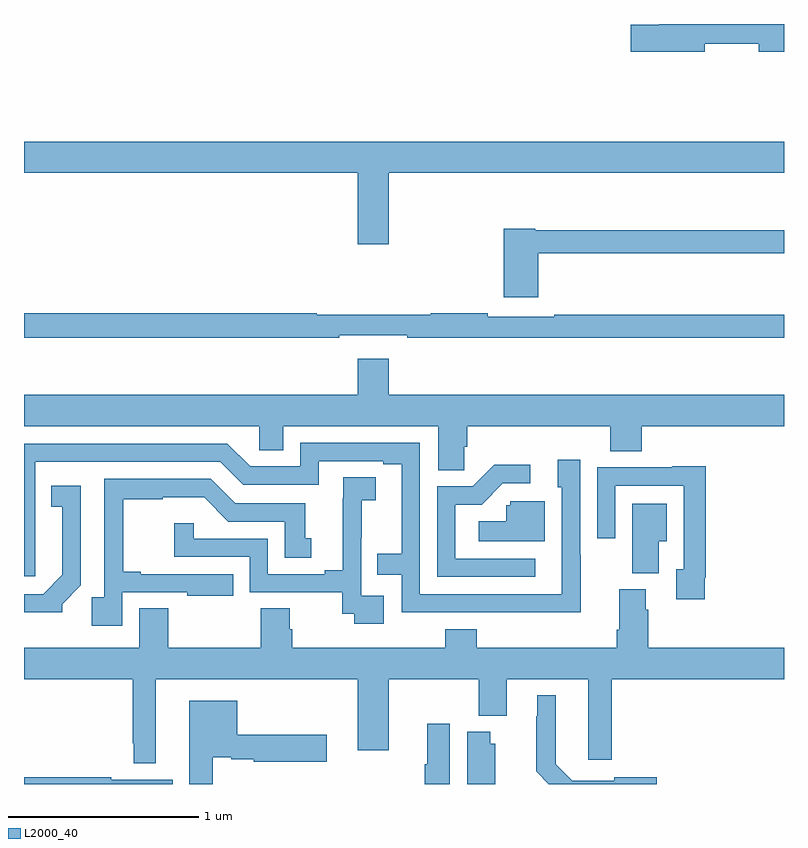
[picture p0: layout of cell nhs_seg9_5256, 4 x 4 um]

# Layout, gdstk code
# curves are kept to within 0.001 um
import gdstk
lib = gdstk.Library(unit=1e-6, precision=1e-09)
def P(c, l, *ps):  # polygons
    for p in ps: c.add(gdstk.Polygon(p, *l))
L2000_40 = (2000, 40)

nhs_seg9_5256 = lib.new_cell('nhs_seg9_5256')
P(nhs_seg9_5256, L2000_40, [(418.582,1234.396),(418.868,1234.396),(418.868,1234.354),(419,1234.354),(419,1234.5),(418.343,1234.5),(418.343,1234.496),(418.194,1234.496),(418.194,1234.354),(418.582,1234.354)],
  [(416.92,1233.716),(419,1233.716),(419,1233.88),(415,1233.88),(415,1233.716),(416.756,1233.716),(416.756,1233.342),(416.92,1233.342)],
  [(417.707,1233.294),(419,1233.294),(419,1233.415),(417.69,1233.415),(417.69,1233.423),(417.524,1233.423),(417.524,1233.063),(417.707,1233.063)],
  [(416.66,1232.862),(417.016,1232.862),(417.016,1232.85),(419,1232.85),(419,1232.971),(417.79,1232.971),(417.79,1232.958),(417.44,1232.958),(417.44,1232.978),(417.14,1232.978),(417.14,1232.971),(416.54,1232.971),(416.54,1232.978),(415,1232.978),(415,1232.85),(416.66,1232.85)],
  [(417.318,1232.275),(417.332,1232.275),(417.332,1232.384),(418.085,1232.384),(418.085,1232.251),(418.25,1232.251),(418.25,1232.384),(419,1232.384),(419,1232.548),(416.92,1232.548),(416.92,1232.737),(416.756,1232.737),(416.756,1232.548),(415,1232.548),(415,1232.384),(416.238,1232.384),(416.238,1232.257),(416.365,1232.257),(416.365,1232.384),(417.179,1232.384),(417.179,1232.152),(417.318,1232.152)],
  [(417.929,1231.706),(417.927,1231.706),(417.927,1232.206),(417.809,1232.206),(417.809,1232.061),(417.831,1232.061),(417.831,1231.5),(417.084,1231.5),(417.084,1232.295),(416.454,1232.295),(416.454,1232.172),(416.19,1232.172),(416.07,1232.292),(415,1232.292),(415,1231.593),(415.06,1231.593),(415.059,1232.196),(416.034,1232.196),(416.154,1232.076),(416.55,1232.076),(416.55,1232.199),(416.891,1232.199),(416.891,1232.184),(416.987,1232.184),(416.987,1231.711),(416.86,1231.711),(416.86,1231.602),(416.988,1231.602),(416.988,1231.404),(417.929,1231.403)],
  [(417.691,1231.686),(417.27,1231.686),(417.27,1231.971),(417.408,1231.971),(417.519,1232.082),(417.664,1232.082),(417.664,1232.18),(417.476,1232.18),(417.363,1232.067),(417.174,1232.067),(417.174,1231.59),(417.691,1231.59)],
  [(418.582,1231.585),(418.589,1231.585),(418.589,1232.173),(418.413,1232.173),(418.413,1232.166),(418.017,1232.166),(418.017,1231.794),(418.113,1231.794),(418.113,1232.07),(418.473,1232.07),(418.473,1231.629),(418.433,1231.629),(418.433,1231.473),(418.582,1231.473)],
  [(416.893,1231.491),(416.775,1231.491),(416.775,1231.795),(416.777,1231.795),(416.777,1231.993),(416.851,1231.993),(416.851,1232.114),(416.68,1232.114),(416.68,1232.003),(416.678,1232.003),(416.678,1231.625),(416.582,1231.625),(416.582,1231.605),(416.283,1231.605),(416.283,1231.791),(415.893,1231.791),(415.893,1231.873),(415.792,1231.873),(415.792,1231.695),(416.187,1231.695),(416.187,1231.509),(416.674,1231.509),(416.674,1231.395),(416.737,1231.395),(416.737,1231.344),(416.893,1231.344)],
  [(415.518,1231.509),(415.859,1231.509),(415.859,1231.49),(416.102,1231.49),(416.102,1231.605),(415.615,1231.605),(415.615,1231.618),(415.523,1231.618),(415.523,1231.998),(415.73,1231.998),(415.73,1232.009),(415.948,1232.009),(416.076,1231.881),(416.372,1231.881),(416.372,1231.69),(416.512,1231.69),(416.512,1231.794),(416.479,1231.794),(416.479,1231.977),(416.112,1231.977),(415.983,1232.106),(415.422,1232.106),(415.422,1231.483),(415.357,1231.483),(415.357,1231.332),(415.518,1231.332)],
  [(415.2,1231.447),(415.299,1231.546),(415.299,1232.071),(415.144,1232.071),(415.144,1231.958),(415.202,1231.958),(415.202,1231.601),(415.101,1231.5),(415,1231.5),(415,1231.403),(415.2,1231.403)],
  [(417.742,1231.989),(417.558,1231.989),(417.558,1231.968),(417.537,1231.968),(417.537,1231.882),(417.393,1231.882),(417.393,1231.778),(417.742,1231.778)],
  [(418.342,1231.778),(418.384,1231.778),(418.384,1231.975),(418.202,1231.975),(418.202,1231.609),(418.342,1231.609)],
  [(415.693,1231.052),(416.756,1231.052),(416.756,1230.678),(416.92,1230.678),(416.92,1231.052),(417.394,1231.052),(417.394,1230.86),(417.541,1230.86),(417.541,1231.052),(417.971,1231.052),(417.971,1230.627),(418.094,1230.627),(418.094,1231.052),(419,1231.052),(419,1231.216),(418.286,1231.216),(418.286,1231.418),(418.273,1231.418),(418.273,1231.524),(418.133,1231.524),(418.133,1231.312),(418.121,1231.312),(418.121,1231.216),(417.383,1231.216),(417.383,1231.315),(417.218,1231.315),(417.218,1231.216),(416.411,1231.216),(416.411,1231.314),(416.398,1231.314),(416.398,1231.424),(416.246,1231.424),(416.246,1231.216),(415.76,1231.216),(415.76,1231.424),(415.607,1231.424),(415.607,1231.216),(415,1231.216),(415,1231.052),(415.572,1231.052),(415.572,1230.715),(415.578,1230.715),(415.578,1230.608),(415.693,1230.608)],
  [(418.33,1230.536),(418.106,1230.536),(418.106,1230.516),(417.886,1230.516),(417.799,1230.604),(417.799,1230.967),(417.701,1230.967),(417.701,1230.857),(417.697,1230.857),(417.697,1230.566),(417.763,1230.5),(418.33,1230.5)],
  [(415.993,1230.641),(416.09,1230.641),(416.09,1230.629),(416.208,1230.629),(416.208,1230.617),(416.593,1230.617),(416.593,1230.759),(416.122,1230.759),(416.122,1230.937),(415.871,1230.937),(415.871,1230.5),(415.993,1230.5)],
  [(417.241,1230.817),(417.122,1230.817),(417.122,1230.604),(417.11,1230.604),(417.11,1230.5),(417.241,1230.5)],
  [(417.481,1230.711),(417.454,1230.711),(417.454,1230.775),(417.332,1230.775),(417.332,1230.5),(417.481,1230.5)],
  [(415.783,1230.523),(415.46,1230.523),(415.46,1230.536),(415,1230.536),(415,1230.5),(415.783,1230.5)])

lib.write_gds('nhs_seg9_5256.gds')
